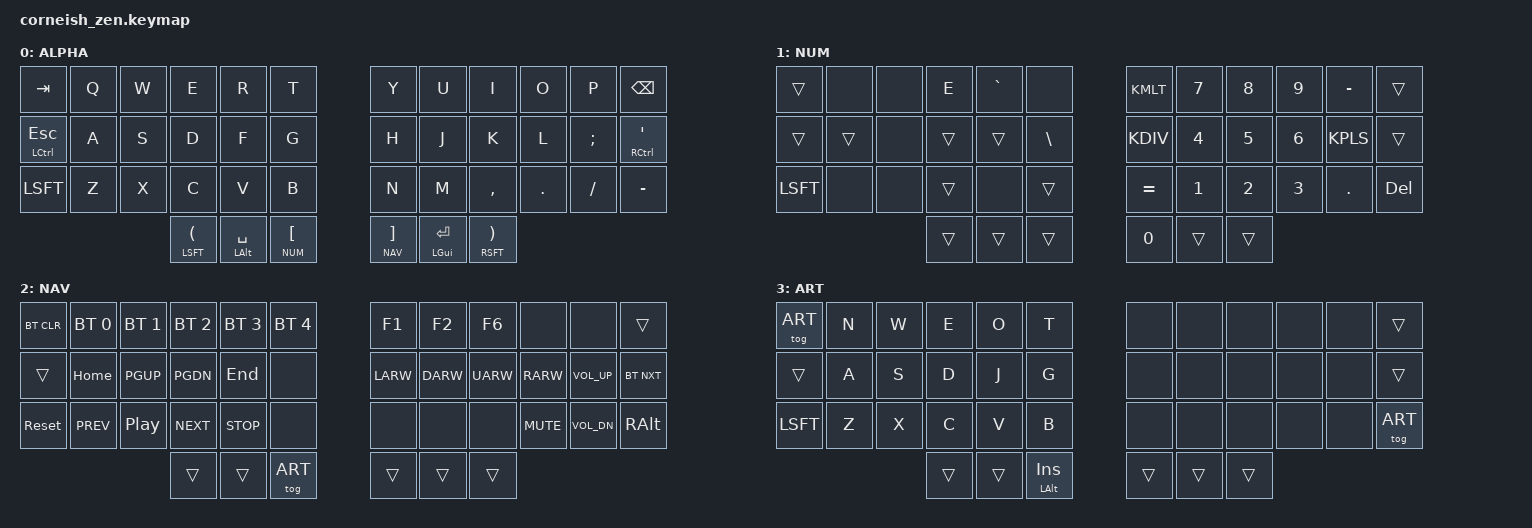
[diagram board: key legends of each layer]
#include <behaviors.dtsi>
#include <dt-bindings/zmk/keys.h>
#include <dt-bindings/zmk/bt.h>

#define NUM 1
#define NAV 2
#define ART 3

/ {
    chosen {
        zmk,physical-layout = &foostan_corne_6col_layout;
        // zmk,physical-layout = &foostan_corne_5col_layout;
    };
};

/ {
        behaviors {
            hm: homerow_mods {
                compatible = "zmk,behavior-hold-tap";
                label = "HOMEROW_MODS";
                #binding-cells = <2>;
                tapping-term-ms = <200>;
                quick_tap_ms = <0>;
                flavor = "tap-preferred";
                bindings = <&kp>, <&kp>;
            };
            nt: neutral_thumb_mods {
                compatible = "zmk,behavior-hold-tap";
                label = "NEUTRAL_THUMB_MODS";
                #binding-cells = <2>;
                tapping-term-ms = <200>;
                quick_tap_ms = <150>;
                flavor = "balanced";
                bindings = <&kp>, <&kp>;
            };
        };

        keymap {
                compatible = "zmk,keymap";

                default_layer {
                        label = "ALPHA";
// -----------------------------------------------------------------------------------------
// |  TAB |  Q  |  W  |  E  |  R  |  T  |   |  Y  |  U   |  I  |  O  |  P  | BKSP |
// | CTRL |  A  |  S  |  D  |  F  |  G  |   |  H  |  J   |  K  |  L  |  ;  |  '   |
// | SHFT |  Z  |  X  |  C  |  V  |  B  |   |  N  |  M   |  ,  |  .  |  /  | ESC  |
//                    | GUI | LWR | SPC |   | ENT | RSE  | ALT |
                        bindings = <
                &kp TAB      &kp Q  &kp W  &kp E  &kp R  &kp T            &kp Y  &kp U  &kp I    &kp O   &kp P    &kp BKSP
                &hm LCTL ESC &kp A  &kp S  &kp D  &kp F  &kp G            &kp H  &kp J  &kp K    &kp L   &kp SCLN &hm RCTL QUOT
                &kp LSFT     &kp Z  &kp X  &kp C  &kp V  &kp B            &kp N  &kp M  &kp CMMA &kp DOT &kp FSLH &kp MINUS
                           &mt LSFT LPRN &nt LALT SPC &lt NUM LBKT    &lt NAV RBKT &nt LGUI RET &mt RSFT RPRN
                        >;
                };
                num_layer {
                        label = "NUM";
// -----------------------------------------------------------------------------------------
// | //// |     |     |  E  |  `  |     |   |  *  |  7  |  8  |  9  |  -  | //// |
// | //// | /// |     | /// | /// |  \  |   |  /  |  4  |  5  |  6  |  +  | //// |
// | SHFT |     |     | /// |     | /// |   |  =  |  1  |  2  |  3  |  .  | DEL  |
//                    | /// | /// | /// |   |  0  | /// | /// |
                        bindings = <
                &trans    &none   &none  &kp E   &kp GRAV  &none         &kp KMLT  &kp NUM_7  &kp NUM_8  &kp NUM_9  &kp MINUS  &trans
                &trans    &trans  &none  &trans  &trans    &kp BSLH      &kp KDIV  &kp NUM_4  &kp NUM_5  &kp NUM_6  &kp KPLS   &trans
                &kp LSFT  &none   &none  &trans  &none     &trans        &kp EQL   &kp NUM_1  &kp NUM_2  &kp NUM_3  &kp DOT    &kp DEL
                                           &trans  &trans  &trans    &kp NUM_0  &trans  &trans
                        >;
                };

                nav_layer {
                        label = "NAV";
// -----------------------------------------------------------------------------------------
// |BT_CLR| BT0 | BT1 | BT2 | BT3 | BT4 |   |  F1 |  F2 |  F6 |     |     | //// |
// |      | HOME| PGUP| PGDN| END |     |   |  ←  |  ↓  |  ↑  |  →  | VOL+|BT_NXT|
// | RESET| PREV| PLAY| NXT | STOP|     |   |     |     |     | MUTE| VOL-| RALT |
//                    | /// | /// | ART |   | /// | /// | /// |
                        bindings = <
                &bt BT_CLR  &bt BT_SEL 0  &bt BT_SEL 1  &bt BT_SEL 2  &bt BT_SEL 3  &bt BT_SEL 4   &kp F1  &kp F2  &kp F6  &none       &none       &trans
                &trans      &kp HOME      &kp PGUP      &kp PGDN      &kp END       &none          &kp LARW   &kp DARW   &kp UARW   &kp RARW       &kp C_VOL_UP  &bt BT_NXT
                &sys_reset      &kp C_PREV    &kp C_PP    &kp C_NEXT    &kp C_STOP    &none          &none   &none   &none   &kp C_MUTE  &kp C_VOL_DN  &kp RALT
                                          &trans  &trans  &tog ART     &trans  &trans  &trans
                        >;
                };

                art_layer {
                    label = "ART";
                    // Condensed layout with common Krita functions collapsed onto left half of
                    // keyboard. Only fall through mod functions on right half.
                    // ┌──────┬──────┬──────┬──────┬──────┬──────┐
                    // | ART  |  N   |  W   |  E   |  O   |  T   |
                    // ├──────┼──────┼──────┼──────┼──────┼──────┤
                    // |//////|  A   |  S   |  D   |  J   |  G   |
                    // ├──────┼──────┼──────┼──────┼──────┼──────┤
                    // |LShft |  Z   |  X   |  C   |  V   |  B   |
                    // └──────┴──────┴──────┴──┬───┴──┬───┴──┬───┴──┐
                    //                         |//////|//////| Ins  |
                    //                         |//////|//////|LCtrl |
                    //                         └──────┴──────┴──────┘
                    bindings = <
                        &tog ART  &kp N  &kp W  &kp E  &kp O  &kp T       &none  &none  &none  &none  &none  &trans
                        &trans    &kp A  &kp S  &kp D  &kp J  &kp G       &none  &none  &none  &none  &none  &trans
                        &kp LSFT  &kp Z  &kp X  &kp C  &kp V  &kp B       &none  &none  &none  &none  &none  &tog ART
                                       &trans  &trans  &mt LALT INS       &trans  &trans  &trans
                    >;
                };
        };
};
